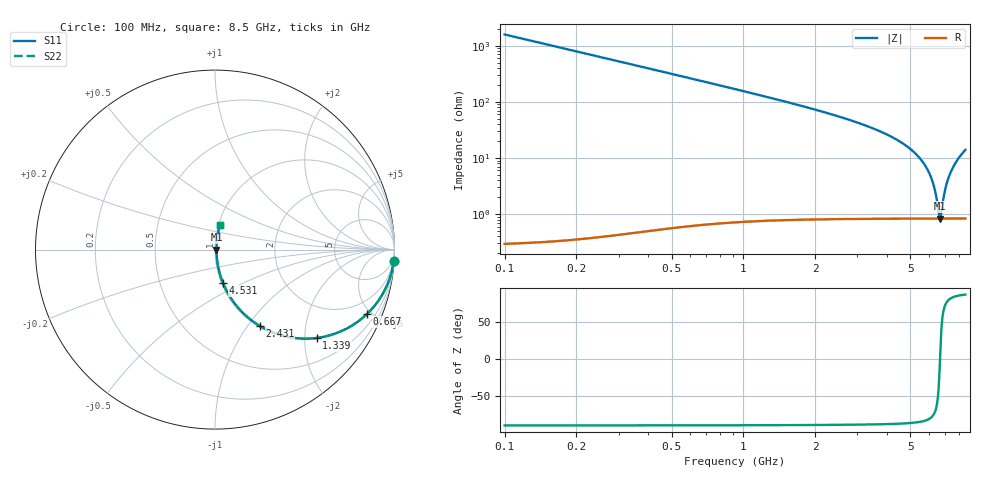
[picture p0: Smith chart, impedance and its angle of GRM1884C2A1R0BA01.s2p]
!Murata Part Number: GRM1884C2A1R0BA01
!These Parameters are Measured in Series Mode Connection
!Data Generated on Mar 30, 2021
!  o--ll--o
!Port1  Port2
!  o------o
!Operation Temp=25[degC], DC Bias Voltage=0[V]
!Freq. Start=100[MHz] Stop=9[GHz] 401[Steps]
# Hz S RI R 50
!Freq.(Hz) S11(Real) S11(Imag) S21(Real) S21(Imag) S12(Real) S12(Imag) S22(Real) S22(Imag)
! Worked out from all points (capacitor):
!   401 points, 100 MHz to 8.5 GHz, reference 50 ohm
!   read as one part in series: C = 1 pF near 142 MHz
!   lowest |Z| = 834 mohm at 6.652 GHz (marker M1)
!   series resonance near 6.655 GHz, so ESL is about 570 pH
!   S11 on the Smith chart (normalised r, x): 100 MHz: 1, -32; 667 MHz: 1.01, -4.72; 1.339 GHz: 1.02, -2.28; 2.431 GHz: 1.02, -1.14; 4.531 GHz: 1.02, -0.39; 8.5 GHz: 1.02, +0.28
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1e8  0.9961 -0.0626  0.00395 0.0626  0.00395 0.0626  0.9961 -0.0626
2.26e8  0.9801 -0.1394  0.0199 0.1394  0.0199 0.1394  0.9801 -0.1394
3.31e8  0.9581 -0.1998  0.0419 0.1998  0.0419 0.1998  0.9581 -0.1998
6.67e8  0.8472 -0.3584  0.1528 0.3584  0.1528 0.3584  0.8472 -0.3584
1.339e9  0.5656 -0.4923  0.4344 0.4923  0.4344 0.4923  0.5656 -0.4923
1.507e9  0.502 -0.4961  0.498 0.4961  0.498 0.4961  0.502 -0.4961
2.431e9  0.2496 -0.4257  0.7504 0.4257  0.7504 0.4257  0.2496 -0.4257
2.914e9  0.171 -0.3675  0.829 0.3675  0.829 0.3675  0.171 -0.3675
4.3e9  0.0542 -0.2085  0.9458 0.2085  0.9458 0.2085  0.0542 -0.2085
4.531e9  0.044 -0.1849  0.956 0.1849  0.956 0.1849  0.044 -0.1849
5.203e9  0.0232 -0.1208  0.9768 0.1208  0.9768 0.1208  0.0232 -0.1208
5.707e9  0.0142 -0.0765  0.9858 0.0765  0.9858 0.0765  0.0142 -0.0765
6.001e9  0.011 -0.0519  0.989 0.0519  0.989 0.0519  0.011 -0.0519
6.232e9  0.00937 -0.0332  0.9906 0.0332  0.9906 0.0332  0.00937 -0.0332
6.379e9  0.00873 -0.0215  0.9913 0.0215  0.9913 0.0215  0.00873 -0.0215
6.589e9  0.00829 -0.00511  0.9917 0.00511  0.9917 0.00511  0.00829 -0.00511
6.652e9  0.00827 -0.000242  0.9917 0.000242  0.9917 0.000242  0.00827 -0.000242
6.715e9  0.00829 0.0046  0.9917 -0.0046  0.9917 -0.0046  0.00829 0.0046
6.925e9  0.0087 0.0205  0.9913 -0.0205  0.9913 -0.0205  0.0087 0.0205
7.114e9  0.00949 0.0347  0.9905 -0.0347  0.9905 -0.0347  0.00949 0.0347
7.66e9  0.0139 0.0746  0.9861 -0.0746  0.9861 -0.0746  0.0139 0.0746
8.5e9  0.0269 0.1346  0.9731 -0.1346  0.9731 -0.1346  0.0269 0.1346
